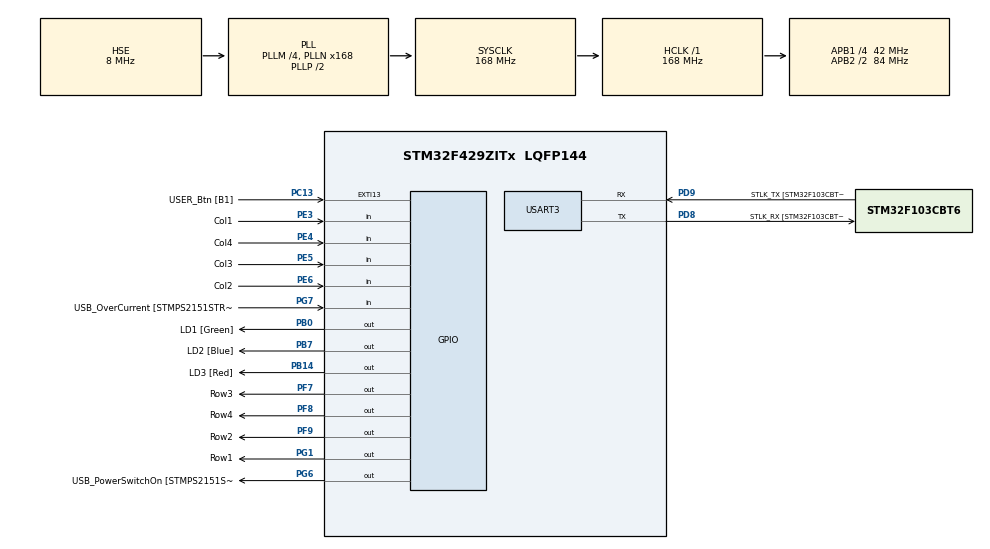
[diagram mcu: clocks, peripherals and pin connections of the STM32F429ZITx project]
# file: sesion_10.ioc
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Mcu.Family=STM32F4
Mcu.Name=STM32F429ZITx
Mcu.Package=LQFP144
NVIC.PriorityGroup=NVIC_PRIORITYGROUP_4
NVIC.TIM3_IRQn=true\:0\:0\:false\:false\:true\:true\:true\:true
PA1.GPIO_Label=RMII_REF_CLK [LAN8742A-CZ-TR_REFCLK0]
PA1.Signal=ETH_REF_CLK
PA10.GPIO_Label=USB_ID
PA10.Signal=USB_OTG_FS_ID
PA11.GPIO_Label=USB_DM
PA11.Signal=USB_OTG_FS_DM
PA12.GPIO_Label=USB_DP
PA12.Signal=USB_OTG_FS_DP
PA13.GPIO_Label=TMS
PA13.Mode=Serial_Wire
PA13.Signal=SYS_JTMS-SWDIO
PA14.GPIO_Label=TCK
PA14.Mode=Serial_Wire
PA14.Signal=SYS_JTCK-SWCLK
PA2.GPIO_Label=RMII_MDIO [LAN8742A-CZ-TR_MDIO]
PA2.Signal=ETH_MDIO
PA7.GPIO_Label=RMII_CRS_DV [LAN8742A-CZ-TR_CRS_DV]
PA7.Signal=ETH_CRS_DV
PA8.GPIO_Label=USB_SOF [TP1]
PA8.Signal=USB_OTG_FS_SOF
PA9.GPIO_Label=USB_VBUS
PA9.Signal=USB_OTG_FS_VBUS
PB0.GPIO_Label=LD1 [Green]
PB0.Signal=GPIO_Output
PB13.GPIO_Label=RMII_TXD1 [LAN8742A-CZ-TR_TXD1]
PB13.Signal=ETH_TXD1
PB14.GPIO_Label=LD3 [Red]
PB14.Signal=GPIO_Output
PB7.GPIO_Label=LD2 [Blue]
PB7.Signal=GPIO_Output
PC1.GPIO_Label=RMII_MDC [LAN8742A-CZ-TR_MDC]
PC1.Signal=ETH_MDC
PC13.GPIO_Label=USER_Btn [B1]
PC13.Signal=GPXTI13
PC14/OSC32_IN.Mode=LSE-External-Oscillator
PC14/OSC32_IN.Signal=RCC_OSC32_IN
PC15/OSC32_OUT.Mode=LSE-External-Oscillator
PC15/OSC32_OUT.Signal=RCC_OSC32_OUT
PC4.GPIO_Label=RMII_RXD0 [LAN8742A-CZ-TR_RXD0]
PC4.Signal=ETH_RXD0
PC5.GPIO_Label=RMII_RXD1 [LAN8742A-CZ-TR_RXD1]
PC5.Signal=ETH_RXD1
PD8.GPIO_Label=STLK_RX [STM32F103CBT6_PA3]
PD8.Mode=Asynchronous
PD8.Signal=USART3_TX
PD9.GPIO_Label=STLK_TX [STM32F103CBT6_PA2]
PD9.Mode=Asynchronous
PD9.Signal=USART3_RX
PE3.GPIO_Label=Col1
PE3.GPIO_PuPd=GPIO_PULLUP
PE3.Signal=GPIO_Input
PE4.GPIO_Label=Col4
PE4.GPIO_PuPd=GPIO_PULLUP
PE4.Signal=GPIO_Input
PE5.GPIO_Label=Col3
PE5.GPIO_PuPd=GPIO_PULLUP
PE5.Signal=GPIO_Input
PE6.GPIO_Label=Col2
PE6.GPIO_PuPd=GPIO_PULLUP
PE6.Signal=GPIO_Input
PF7.GPIO_Label=Row3
PF7.GPIO_ModeDefaultOutputPP=GPIO_MODE_OUTPUT_OD
PF7.GPIO_PuPd=GPIO_NOPULL
PF7.Signal=GPIO_Output
PF8.GPIO_Label=Row4
PF8.GPIO_ModeDefaultOutputPP=GPIO_MODE_OUTPUT_OD
PF8.GPIO_PuPd=GPIO_NOPULL
PF8.Signal=GPIO_Output
PF9.GPIO_Label=Row2
PF9.GPIO_ModeDefaultOutputPP=GPIO_MODE_OUTPUT_OD
PF9.GPIO_PuPd=GPIO_NOPULL
PF9.Signal=GPIO_Output
PG1.GPIO_Label=Row1
PG1.GPIO_ModeDefaultOutputPP=GPIO_MODE_OUTPUT_OD
PG1.GPIO_PuPd=GPIO_NOPULL
PG1.Signal=GPIO_Output
PG11.GPIO_Label=RMII_TX_EN [LAN8742A-CZ-TR_TXEN]
PG11.Signal=ETH_TX_EN
PG13.GPIO_Label=RMII_TXD0 [LAN8742A-CZ-TR_TXD0]
PG13.Signal=ETH_TXD0
PG6.GPIO_Label=USB_PowerSwitchOn [STMPS2151STR_EN]
PG6.Signal=GPIO_Output
PG7.GPIO_Label=USB_OverCurrent [STMPS2151STR_FAULT]
PG7.Signal=GPIO_Input
PH0/OSC_IN.GPIO_Label=MCO [STM32F103CBT6_PA8]
PH0/OSC_IN.Mode=HSE-External-Clock-Source
PH0/OSC_IN.Signal=RCC_OSC_IN
PH1/OSC_OUT.Mode=HSE-External-Clock-Source
PH1/OSC_OUT.Signal=RCC_OSC_OUT
ProjectManager.HeapSize=0x200
ProjectManager.StackSize=0x400
ProjectManager.TargetToolchain=STM32CubeIDE
RCC.48MHZClocksFreq_Value=48000000
RCC.AHBFreq_Value=168000000
RCC.APB1CLKDivider=RCC_HCLK_DIV4
RCC.APB1Freq_Value=42000000
RCC.APB1TimFreq_Value=84000000
RCC.APB2CLKDivider=RCC_HCLK_DIV2
RCC.APB2Freq_Value=84000000
RCC.APB2TimCLKDivider=2
RCC.APB2TimFreq_Value=168000000
RCC.CortexFreq_Value=168000000
RCC.HCLKFreq_Value=168000000
RCC.HSE_VALUE=8000000
RCC.HSI_VALUE=16000000
RCC.PLLM=4
RCC.PLLMUL=RCC_PLL_MUL9
RCC.PLLN=168
RCC.PLLQ=7
RCC.PLLSourceVirtual=RCC_PLLSOURCE_HSE
RCC.PRESCALERUSB=RCC_USBCLKSOURCE_PLL_DIV1_5
RCC.SYSCLKFreq_VALUE=168000000
RCC.SYSCLKSource=RCC_SYSCLKSOURCE_PLLCLK
RCC.SYSCLKSourceVirtual=RCC_SYSCLKSOURCE_PLLCLK
RCC.USBFreq_Value=48000000
RCC.VCOOutputFreq_Value=336000000
TIM3.AutoReloadPreload=TIM_AUTORELOAD_PRELOAD_ENABLE
TIM3.Period=99
TIM3.Prescaler=8399
USART3.VirtualMode=VM_ASYNC
VP_TIM3_VS_ClockSourceINT.Mode=Internal
board=NUCLEO-F429ZI

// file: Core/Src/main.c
/* USER CODE BEGIN Header */
/**
  ******************************************************************************
  * @file           : main.c
  * @brief          : Main program body
  ******************************************************************************
  * @attention
  *
  * Copyright (c) 2024 STMicroelectronics.
  * All rights reserved.
  *
  * This software is licensed under terms that can be found in the LICENSE file
  * in the root directory of this software component.
  * If no LICENSE file comes with this software, it is provided AS-IS.
  *
  ******************************************************************************
  */
/* USER CODE END Header */
#include "main.h"

/* USER CODE BEGIN Includes */
#include <stdio.h>
/* USER CODE END Includes */

TIM_HandleTypeDef htim3;

UART_HandleTypeDef huart3;

/* USER CODE BEGIN PV */
static volatile char key;
/* USER CODE END PV */

void SystemClock_Config(void);
static void MX_GPIO_Init(void);
static void MX_USART3_UART_Init(void);
static void MX_TIM3_Init(void);

/* USER CODE BEGIN 0 */
int __io_putchar(int ch)
 {
 ITM_SendChar(ch);
 return 0;
 }

void HAL_TIM_PeriodElapsedCallback(TIM_HandleTypeDef *htim)
  {
   static uint8_t row = 0;
   static const char keyboard[4][4] = {
   { '1', '2', '3', 'A' },
   { '4', '5', '6', 'B' },
   { '7', '8', '9', 'C' },
   { '*', '0', '#', 'D' },
   };
   if (key == 0) {
   if (HAL_GPIO_ReadPin(Col1_GPIO_Port, Col1_Pin) == GPIO_PIN_RESET) key = keyboard[row][0];
   if (HAL_GPIO_ReadPin(Col2_GPIO_Port, Col2_Pin) == GPIO_PIN_RESET) key = keyboard[row][1];
   if (HAL_GPIO_ReadPin(Col3_GPIO_Port, Col3_Pin) == GPIO_PIN_RESET) key = keyboard[row][2];
   if (HAL_GPIO_ReadPin(Col4_GPIO_Port, Col4_Pin) == GPIO_PIN_RESET) key = keyboard[row][3];
   // ... atd ...
   }
   HAL_GPIO_WritePin(Row1_GPIO_Port, Row1_Pin, GPIO_PIN_SET);
   HAL_GPIO_WritePin(Row2_GPIO_Port, Row2_Pin, GPIO_PIN_SET);
   HAL_GPIO_WritePin(Row3_GPIO_Port, Row3_Pin, GPIO_PIN_SET);
   HAL_GPIO_WritePin(Row4_GPIO_Port, Row4_Pin, GPIO_PIN_SET);
   switch (row) {
   case 0: row = 1; HAL_GPIO_WritePin(Row2_GPIO_Port, Row2_Pin, GPIO_PIN_RESET); break;
   case 1: row = 2; HAL_GPIO_WritePin(Row3_GPIO_Port, Row3_Pin, GPIO_PIN_RESET); break;
   case 2: row = 3; HAL_GPIO_WritePin(Row4_GPIO_Port, Row4_Pin, GPIO_PIN_RESET); break;
   case 3: row = 0; HAL_GPIO_WritePin(Row1_GPIO_Port, Row1_Pin, GPIO_PIN_RESET); break;
   // ... atd ...
   }
  }

uint8_t passwd[5]={'7','9','3','2','#'};
uint8_t pwi = 0;
uint8_t wrnogpasscnt = 0;
/* USER CODE END 0 */

int main(void)
{

  /* MCU Configuration--------------------------------------------------------*/

  /* Reset of all peripherals, Initializes the Flash interface and the Systick. */
  HAL_Init();

  /* Configure the system clock */
  SystemClock_Config();

  /* Initialize all configured peripherals */
  MX_GPIO_Init();
  MX_USART3_UART_Init();
  MX_TIM3_Init();
  /* USER CODE BEGIN 2 */
  HAL_TIM_Base_Start_IT(&htim3);

  /* USER CODE END 2 */

  /* Infinite loop */
  while (1)
  {

    /* USER CODE BEGIN 3 */
	  //printf("Tick\n");
	  //HAL_GPIO_TogglePin(LD2_GPIO_Port, LD2_Pin);
	  //HAL_Delay(250);
	  //HAL_GPIO_TogglePin(LD3_GPIO_Port, LD3_Pin);
	  uint32_t curentTime = HAL_GetTick();
	  uint32_t delay = 50000;
	 static uint32_t newTime = 0;
	  if(curentTime == newTime+delay){
		  pwi=0;
		  newTime = curentTime;
	  }
	  if (key != 0) {
	   printf("stisknuto '%c'\n", key);
	   if (key==passwd[pwi])
	  {
		 if (key == '#'){
			 printf("Code Accepted\n");
			 HAL_GPIO_WritePin(LD1_GPIO_Port,LD1_Pin,1);
			 HAL_Delay(500);
			 HAL_GPIO_WritePin(LD1_GPIO_Port,LD1_Pin,0);
			 pwi = -1;
			 wrnogpasscnt = 0;
		 }
		 pwi++;
	  }else{
		 printf("Wrong code\n");
		 HAL_GPIO_TogglePin(LD3_GPIO_Port, LD3_Pin);
		 pwi =0;
		 wrnogpasscnt ++;
	  }
	   HAL_GPIO_TogglePin(LD3_GPIO_Port, LD3_Pin);
	   if(wrnogpasscnt == 5) {
		   HAL_Delay(5000000);
	   }
	   HAL_Delay(500);
	   key = 0;
	  }

  }

  /* USER CODE END 3 */
}

void SystemClock_Config(void)
{
  RCC_OscInitTypeDef RCC_OscInitStruct = {0};
  RCC_ClkInitTypeDef RCC_ClkInitStruct = {0};

  /** Configure the main internal regulator output voltage
  */
  __HAL_RCC_PWR_CLK_ENABLE();
  __HAL_PWR_VOLTAGESCALING_CONFIG(PWR_REGULATOR_VOLTAGE_SCALE1);

  /** Initializes the RCC Oscillators according to the specified parameters
  * in the RCC_OscInitTypeDef structure.
  */
  RCC_OscInitStruct.OscillatorType = RCC_OSCILLATORTYPE_HSE;
  RCC_OscInitStruct.HSEState = RCC_HSE_BYPASS;
  RCC_OscInitStruct.PLL.PLLState = RCC_PLL_ON;
  RCC_OscInitStruct.PLL.PLLSource = RCC_PLLSOURCE_HSE;
  RCC_OscInitStruct.PLL.PLLM = 4;
  RCC_OscInitStruct.PLL.PLLN = 168;
  RCC_OscInitStruct.PLL.PLLP = RCC_PLLP_DIV2;
  RCC_OscInitStruct.PLL.PLLQ = 7;
  if (HAL_RCC_OscConfig(&RCC_OscInitStruct) != HAL_OK)
  {
    Error_Handler();
  }

  /** Initializes the CPU, AHB and APB buses clocks
  */
  RCC_ClkInitStruct.ClockType = RCC_CLOCKTYPE_HCLK|RCC_CLOCKTYPE_SYSCLK
                              |RCC_CLOCKTYPE_PCLK1|RCC_CLOCKTYPE_PCLK2;
  RCC_ClkInitStruct.SYSCLKSource = RCC_SYSCLKSOURCE_PLLCLK;
  RCC_ClkInitStruct.AHBCLKDivider = RCC_SYSCLK_DIV1;
  RCC_ClkInitStruct.APB1CLKDivider = RCC_HCLK_DIV4;
  RCC_ClkInitStruct.APB2CLKDivider = RCC_HCLK_DIV2;

  if (HAL_RCC_ClockConfig(&RCC_ClkInitStruct, FLASH_LATENCY_5) != HAL_OK)
  {
    Error_Handler();
  }
}

static void MX_TIM3_Init(void)
{

  TIM_ClockConfigTypeDef sClockSourceConfig = {0};
  TIM_MasterConfigTypeDef sMasterConfig = {0};

  htim3.Instance = TIM3;
  htim3.Init.Prescaler = 8399;
  htim3.Init.CounterMode = TIM_COUNTERMODE_UP;
  htim3.Init.Period = 99;
  htim3.Init.ClockDivision = TIM_CLOCKDIVISION_DIV1;
  htim3.Init.AutoReloadPreload = TIM_AUTORELOAD_PRELOAD_ENABLE;
  if (HAL_TIM_Base_Init(&htim3) != HAL_OK)
  {
    Error_Handler();
  }
  sClockSourceConfig.ClockSource = TIM_CLOCKSOURCE_INTERNAL;
  if (HAL_TIM_ConfigClockSource(&htim3, &sClockSourceConfig) != HAL_OK)
  {
    Error_Handler();
  }
  sMasterConfig.MasterOutputTrigger = TIM_TRGO_RESET;
  sMasterConfig.MasterSlaveMode = TIM_MASTERSLAVEMODE_DISABLE;
  if (HAL_TIMEx_MasterConfigSynchronization(&htim3, &sMasterConfig) != HAL_OK)
  {
    Error_Handler();
  }

}

static void MX_USART3_UART_Init(void)
{

  huart3.Instance = USART3;
  huart3.Init.BaudRate = 115200;
  huart3.Init.WordLength = UART_WORDLENGTH_8B;
  huart3.Init.StopBits = UART_STOPBITS_1;
  huart3.Init.Parity = UART_PARITY_NONE;
  huart3.Init.Mode = UART_MODE_TX_RX;
  huart3.Init.HwFlowCtl = UART_HWCONTROL_NONE;
  huart3.Init.OverSampling = UART_OVERSAMPLING_16;
  if (HAL_UART_Init(&huart3) != HAL_OK)
  {
    Error_Handler();
  }

}

static void MX_GPIO_Init(void)
{
  GPIO_InitTypeDef GPIO_InitStruct = {0};

  /* GPIO Ports Clock Enable */
  __HAL_RCC_GPIOE_CLK_ENABLE();
  __HAL_RCC_GPIOC_CLK_ENABLE();
  __HAL_RCC_GPIOF_CLK_ENABLE();
  __HAL_RCC_GPIOH_CLK_ENABLE();
  __HAL_RCC_GPIOA_CLK_ENABLE();
  __HAL_RCC_GPIOB_CLK_ENABLE();
  __HAL_RCC_GPIOG_CLK_ENABLE();
  __HAL_RCC_GPIOD_CLK_ENABLE();

  /*Configure GPIO pin Output Level */
  HAL_GPIO_WritePin(GPIOF, Row3_Pin|Row4_Pin|Row2_Pin, GPIO_PIN_RESET);

  /*Configure GPIO pin Output Level */
  HAL_GPIO_WritePin(GPIOB, LD1_Pin|LD3_Pin|LD2_Pin, GPIO_PIN_RESET);

  /*Configure GPIO pin Output Level */
  HAL_GPIO_WritePin(GPIOG, Row1_Pin|USB_PowerSwitchOn_Pin, GPIO_PIN_RESET);

  /*Configure GPIO pins : Col1_Pin Col4_Pin Col3_Pin Col2_Pin */
  GPIO_InitStruct.Pin = Col1_Pin|Col4_Pin|Col3_Pin|Col2_Pin;
  GPIO_InitStruct.Mode = GPIO_MODE_INPUT;
  GPIO_InitStruct.Pull = GPIO_PULLUP;
  HAL_GPIO_Init(GPIOE, &GPIO_InitStruct);

  /*Configure GPIO pin : USER_Btn_Pin */
  GPIO_InitStruct.Pin = USER_Btn_Pin;
  GPIO_InitStruct.Mode = GPIO_MODE_IT_RISING;
  GPIO_InitStruct.Pull = GPIO_NOPULL;
  HAL_GPIO_Init(USER_Btn_GPIO_Port, &GPIO_InitStruct);

  /*Configure GPIO pins : Row3_Pin Row4_Pin Row2_Pin */
  GPIO_InitStruct.Pin = Row3_Pin|Row4_Pin|Row2_Pin;
  GPIO_InitStruct.Mode = GPIO_MODE_OUTPUT_OD;
  GPIO_InitStruct.Pull = GPIO_NOPULL;
  GPIO_InitStruct.Speed = GPIO_SPEED_FREQ_LOW;
  HAL_GPIO_Init(GPIOF, &GPIO_InitStruct);

  /*Configure GPIO pins : RMII_MDC_Pin RMII_RXD0_Pin RMII_RXD1_Pin */
  GPIO_InitStruct.Pin = RMII_MDC_Pin|RMII_RXD0_Pin|RMII_RXD1_Pin;
  GPIO_InitStruct.Mode = GPIO_MODE_AF_PP;
  GPIO_InitStruct.Pull = GPIO_NOPULL;
  GPIO_InitStruct.Speed = GPIO_SPEED_FREQ_VERY_HIGH;
  GPIO_InitStruct.Alternate = GPIO_AF11_ETH;
  HAL_GPIO_Init(GPIOC, &GPIO_InitStruct);

  /*Configure GPIO pins : RMII_REF_CLK_Pin RMII_MDIO_Pin RMII_CRS_DV_Pin */
  GPIO_InitStruct.Pin = RMII_REF_CLK_Pin|RMII_MDIO_Pin|RMII_CRS_DV_Pin;
  GPIO_InitStruct.Mode = GPIO_MODE_AF_PP;
  GPIO_InitStruct.Pull = GPIO_NOPULL;
  GPIO_InitStruct.Speed = GPIO_SPEED_FREQ_VERY_HIGH;
  GPIO_InitStruct.Alternate = GPIO_AF11_ETH;
  HAL_GPIO_Init(GPIOA, &GPIO_InitStruct);

  /*Configure GPIO pins : LD1_Pin LD3_Pin LD2_Pin */
  GPIO_InitStruct.Pin = LD1_Pin|LD3_Pin|LD2_Pin;
  GPIO_InitStruct.Mode = GPIO_MODE_OUTPUT_PP;
  GPIO_InitStruct.Pull = GPIO_NOPULL;
  GPIO_InitStruct.Speed = GPIO_SPEED_FREQ_LOW;
  HAL_GPIO_Init(GPIOB, &GPIO_InitStruct);

  /*Configure GPIO pin : Row1_Pin */
  GPIO_InitStruct.Pin = Row1_Pin;
  GPIO_InitStruct.Mode = GPIO_MODE_OUTPUT_OD;
  GPIO_InitStruct.Pull = GPIO_NOPULL;
  GPIO_InitStruct.Speed = GPIO_SPEED_FREQ_LOW;
  HAL_GPIO_Init(Row1_GPIO_Port, &GPIO_InitStruct);

  /*Configure GPIO pin : RMII_TXD1_Pin */
  GPIO_InitStruct.Pin = RMII_TXD1_Pin;
  GPIO_InitStruct.Mode = GPIO_MODE_AF_PP;
  GPIO_InitStruct.Pull = GPIO_NOPULL;
  GPIO_InitStruct.Speed = GPIO_SPEED_FREQ_VERY_HIGH;
  GPIO_InitStruct.Alternate = GPIO_AF11_ETH;
  HAL_GPIO_Init(RMII_TXD1_GPIO_Port, &GPIO_InitStruct);

  /*Configure GPIO pin : USB_PowerSwitchOn_Pin */
  GPIO_InitStruct.Pin = USB_PowerSwitchOn_Pin;
  GPIO_InitStruct.Mode = GPIO_MODE_OUTPUT_PP;
  GPIO_InitStruct.Pull = GPIO_NOPULL;
  GPIO_InitStruct.Speed = GPIO_SPEED_FREQ_LOW;
  HAL_GPIO_Init(USB_PowerSwitchOn_GPIO_Port, &GPIO_InitStruct);

  /*Configure GPIO pin : USB_OverCurrent_Pin */
  GPIO_InitStruct.Pin = USB_OverCurrent_Pin;
  GPIO_InitStruct.Mode = GPIO_MODE_INPUT;
  GPIO_InitStruct.Pull = GPIO_NOPULL;
  HAL_GPIO_Init(USB_OverCurrent_GPIO_Port, &GPIO_InitStruct);

  /*Configure GPIO pins : USB_SOF_Pin USB_ID_Pin USB_DM_Pin USB_DP_Pin */
  GPIO_InitStruct.Pin = USB_SOF_Pin|USB_ID_Pin|USB_DM_Pin|USB_DP_Pin;
  GPIO_InitStruct.Mode = GPIO_MODE_AF_PP;
  GPIO_InitStruct.Pull = GPIO_NOPULL;
  GPIO_InitStruct.Speed = GPIO_SPEED_FREQ_VERY_HIGH;
  GPIO_InitStruct.Alternate = GPIO_AF10_OTG_FS;
  HAL_GPIO_Init(GPIOA, &GPIO_InitStruct);

  /*Configure GPIO pin : USB_VBUS_Pin */
  GPIO_InitStruct.Pin = USB_VBUS_Pin;
  GPIO_InitStruct.Mode = GPIO_MODE_INPUT;
  GPIO_InitStruct.Pull = GPIO_NOPULL;
  HAL_GPIO_Init(USB_VBUS_GPIO_Port, &GPIO_InitStruct);

  /*Configure GPIO pins : RMII_TX_EN_Pin RMII_TXD0_Pin */
  GPIO_InitStruct.Pin = RMII_TX_EN_Pin|RMII_TXD0_Pin;
  GPIO_InitStruct.Mode = GPIO_MODE_AF_PP;
  GPIO_InitStruct.Pull = GPIO_NOPULL;
  GPIO_InitStruct.Speed = GPIO_SPEED_FREQ_VERY_HIGH;
  GPIO_InitStruct.Alternate = GPIO_AF11_ETH;
  HAL_GPIO_Init(GPIOG, &GPIO_InitStruct);

}

void Error_Handler(void)
{
  __disable_irq();
  while (1)
  {
  }
}
